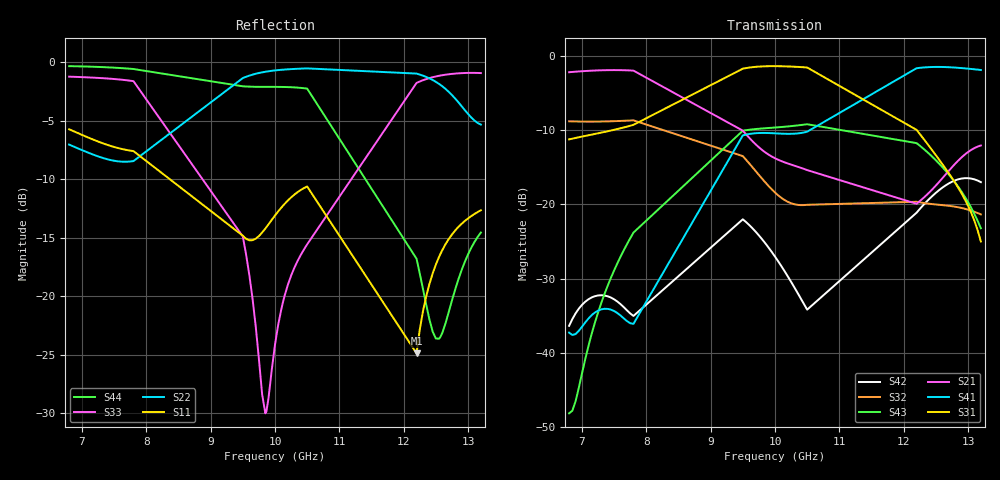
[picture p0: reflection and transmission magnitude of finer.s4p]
! yapnr rf: filterbank3-x7x10x13, footprint re-simulated (refine 3)
! spec sha256 13de688406c8ea8aa5a2983c7d9dfbef6bc7c31cd2b218bfb1531cd97a05cd76
! 4 ports renormalized to 50 ohm, e^(+jwt) convention
# GHz S RI R 50
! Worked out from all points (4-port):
!   69 points, 6.8 GHz to 13.2 GHz, reference 50 ohm
!   strongest paths, dB at 6.8 GHz, 7.55 GHz, 10 GHz, 12.45 GHz, 13.2 GHz:
!     S31: -11.3, -9.9, -1.4, -12.8, -25.0
!     S41: -37.3, -34.6, -10.4, -1.5, -1.9
!     S21: -2.2, -1.9, -13.8, -17.9, -12.1
!     S43: -48.1, -27.9, -9.7, -13.6, -23.2
!     S32: -8.8, -8.8, -18.4, -20.0, -21.4
!     S42: -36.4, -33.1, -27.0, -18.8, -17.0
!   lowest |S11| = -24.9 dB at 12.2 GHz (marker M1), VSWR 1.12, Z = 48 + j5.2 ohm
!   |S11| at or under -10 dB: 8.362 GHz to end of sweep
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6.8  0.1817 -0.4833  0.571 0.5221  -0.1477 0.2291  0.0151 -0.00282
     0.5751 0.5189  0.4326 -0.1007  0.3673 0.0222  0.0164 -0.0178
     -0.1524 0.2271  0.3614 0.0204  -0.4795 -0.7217  0.000849 -0.00986
     0.0133 -0.00336  0.0103 -0.0112  0.00371 0.00125  -0.1467 0.9496
7.8  -0.1373 -0.3933  0.7167 -0.3468  -0.000953 0.3362  0.00662 0.0157
     0.7118 -0.352  -0.0912 -0.3664  0.1395 -0.3396  -0.0158 -0.0226
     -0.00822 0.3426  0.1346 -0.3417  -0.7598 -0.332  -0.0748 -0.0233
     0.00633 0.0143  -0.0086 -0.0155  -0.0609 -0.0212  0.8914 0.2801
9.5  -0.1782 0.032  -0.2755 -0.1389  0.8008 0.0562  0.2815 0.0654
     -0.279 -0.142  -0.1991 0.8312  -0.0598 0.1956  -0.0198 0.0744
     0.8163 0.056  -0.0573 0.2031  -0.031 0.1771  0.3103 0.0661
     0.2837 0.064  -0.0122 0.0783  0.307 0.0605  -0.7788 -0.1209
9.85  -0.1943 0.00693  -0.2037 -0.0719  0.7702 -0.3232  0.296 -0.0732
      -0.2114 -0.0724  0.2026 0.8866  0.074 0.1153  0.0248 0.0466
      0.7828 -0.3292  0.079 0.116  0.0315 0.00209  0.3013 -0.1437
      0.2924 -0.0761  0.0334 0.0432  0.2903 -0.1462  -0.7347 0.273
10.5  -0.2217 0.1931  -0.1638 -0.0199  0.2817 -0.7713  0.2245 -0.2248
      -0.1695 -0.0106  0.7521 0.564  0.0705 -0.064  0.0184 -0.00107
      0.2869 -0.7822  0.0685 -0.0718  0.0133 -0.1659  0.0237 -0.3629
      0.2189 -0.2169  0.0174 -0.00892  0.00848 -0.3459  -0.2803 0.7177
12.2  -0.0179 0.054  -0.103 -0.00711  -0.3044 0.1056  -0.7728 -0.3209
      -0.0998 -0.014  0.3506 -0.8215  -0.0636 0.0513  -0.0432 0.0743
      -0.2995 0.1041  -0.0847 0.0604  -0.4236 -0.6961  -0.0726 0.2396
      -0.7589 -0.3205  -0.0335 0.0811  -0.0427 0.2545  0.1441 0.00885
13.2  0.2299 -0.0361  -0.194 0.1575  -0.0337 0.0596  -0.372 0.723
      -0.1895 0.1615  -0.3967 0.3673  0.0617 0.0266  0.126 -0.0682
      -0.0358 0.0432  0.0771 0.037  -0.8626 -0.2485  0.0294 0.035
      -0.373 0.7095  0.1186 -0.0761  0.0596 0.0348  0.0233 0.1854
